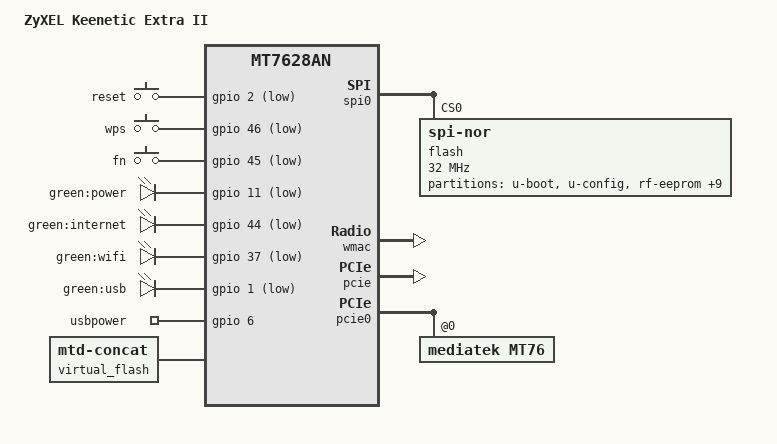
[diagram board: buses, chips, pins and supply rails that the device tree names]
#include "mt7628an.dtsi"

#include <dt-bindings/gpio/gpio.h>
#include <dt-bindings/input/input.h>

/ {
	compatible = "zyxel,keenetic-extra-ii", "mediatek,mt7628an-soc";
	model = "ZyXEL Keenetic Extra II";

	aliases {
		led-boot = &led_power;
		led-failsafe = &led_power;
		led-running = &led_power;
		led-upgrade = &led_power;
	};

	chosen {
		bootargs = "console=ttyS0,57600n8";
	};

	keys {
		compatible = "gpio-keys";

		reset {
			label = "reset";
			gpios = <&gpio 2 GPIO_ACTIVE_LOW>;
			linux,code = <KEY_RESTART>;
		};

		wps {
			label = "wps";
			gpios = <&gpio 46 GPIO_ACTIVE_LOW>;
			linux,code = <KEY_WPS_BUTTON>;
		};

		fn {
			label = "fn";
			gpios = <&gpio 45 GPIO_ACTIVE_LOW>;
			linux,code = <BTN_0>;
		};
	};

	leds {
		compatible = "gpio-leds";

		led_power: power {
			label = "green:power";
			gpios = <&gpio 11 GPIO_ACTIVE_LOW>;
		};

		internet {
			label = "green:internet";
			gpios = <&gpio 44 GPIO_ACTIVE_LOW>;
		};

		wifi {
			label = "green:wifi";
			gpios = <&gpio 37 GPIO_ACTIVE_LOW>;
		};

		usb {
			label = "green:usb";
			gpios = <&gpio 1 GPIO_ACTIVE_LOW>;
			trigger-sources = <&ohci_port1>, <&ehci_port1>;
			linux,default-trigger = "usbport";
		};
	};

	gpio_export {
		compatible = "gpio-export";
		#size-cells = <0>;

		usbpower {
			gpio-export,name = "usbpower";
			gpio-export,output = <1>;
			gpios = <&gpio 6 GPIO_ACTIVE_HIGH>;
		};
	};

	virtual_flash {
		compatible = "mtd-concat";
		devices = <&firmware1 &firmware2>;

		partitions {
			compatible = "fixed-partitions";
			#address-cells = <1>;
			#size-cells = <1>;

			partition@0 {
				compatible = "denx,uimage";
				label = "firmware";
				reg = <0x0 0x1d20000>;
			};
		};
	};
};

&spi0 {
	status = "okay";

	flash@0 {
		compatible = "jedec,spi-nor";
		reg = <0>;
		spi-max-frequency = <32000000>;

		partitions {
			compatible = "fixed-partitions";
			#address-cells = <1>;
			#size-cells = <1>;

			partition@0 {
				label = "u-boot";
				reg = <0x0 0x30000>;
				read-only;
			};

			partition@30000 {
				label = "u-config";
				reg = <0x30000 0x10000>;
				read-only;
			};

			factory: partition@40000 {
				label = "rf-eeprom";
				reg = <0x40000 0x10000>;
				read-only;
			};

			firmware1: partition@50000 {
				label = "firmware_1";
				reg = <0x50000 0xe90000>;
			};

			partition@ee0000 {
				label = "config_1";
				reg = <0xee0000 0x10000>;
				read-only;
			};

			partition@ef0000 {
				label = "storage";
				reg = <0xef0000 0x100000>;
				read-only;
			};

			partition@ff0000 {
				label = "dump";
				reg = <0xff0000 0x10000>;
				read-only;
			};

			partition@1000000 {
				label = "u-state";
				reg = <0x1000000 0x30000>;
				read-only;
			};

			partition@1030000 {
				label = "u-config_res";
				reg = <0x1030000 0x10000>;
				read-only;
			};

			partition@1040000 {
				label = "rf-eeprom_res";
				reg = <0x1040000 0x10000>;
				read-only;
			};

			firmware2: partition@1050000 {
				label = "firmware_2";
				reg = <0x1050000 0xe90000>;
			};

			partition@1ee0000 {
				label = "config_2";
				reg = <0x1ee0000 0x10000>;
				read-only;
			};
		};
	};
};

&ethernet {
	nvmem-cells = <&macaddr_factory_4>;
	nvmem-cell-names = "mac-address";
};

&esw {
	mediatek,portmap = <0x3e>;
};

&wmac {
	status = "okay";

	mediatek,mtd-eeprom = <&factory 0x0>;
};

&pcie {
	status = "okay";
};

&pcie0 {
	mt76@0,0 {
		compatible = "mediatek,mt76";
		reg = <0x0000 0 0 0 0>;
		mediatek,mtd-eeprom = <&factory 0x8000>;
		ieee80211-freq-limit = <5000000 6000000>;
	};
};

&state_default {
	gpio {
		groups = "gpio", "i2s", "refclk", "spi cs1", "uart1", "wled_an";
		function = "gpio";
	};
};

&factory {
	compatible = "nvmem-cells";
	#address-cells = <1>;
	#size-cells = <1>;

	macaddr_factory_4: macaddr@4 {
		reg = <0x4 0x6>;
	};
};
